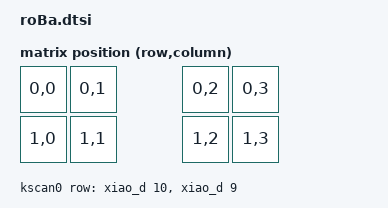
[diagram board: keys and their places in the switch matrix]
#include <dt-bindings/zmk/matrix_transform.h>
#include <physical_layouts.dtsi>

/ {
    chosen {
        zmk,physical-layout = &roba_physical_layout;
    };

    roba_physical_layout: roba_physical_layout {
        compatible = "zmk,physical-layout";
        display-name = "Default";
        transform = <&default_transform>;
        kscan = <&kscan0>;

        keys  //                     w   h    x    y     rot    rx    ry
            = <&key_physical_attrs 100 100    0    0       0     0     0>
            , <&key_physical_attrs 100 100  100    0       0     0     0>
            , <&key_physical_attrs 100 100  325    0       0     0     0>
            , <&key_physical_attrs 100 100  425    0       0     0     0>
            , <&key_physical_attrs 100 100    0  100       0     0     0>
            , <&key_physical_attrs 100 100  100  100       0     0     0>
            , <&key_physical_attrs 100 100  325  100       0     0     0>
            , <&key_physical_attrs 100 100  425  100       0     0     0>
            ;
    };

    default_transform: keymap_transform_0 {
        compatible = "zmk,matrix-transform";
        columns = <8>;
        rows = <2>;
        map = <
            RC(0,0) RC(0,1)            RC(0,2) RC(0,3)
            RC(1,0) RC(1,1)            RC(1,2) RC(1,3)
        >;
    };

    kscan0: kscan {
        compatible = "zmk,kscan-gpio-matrix";
        label = "KSCAN";
        diode-direction = "col2row";
            row-gpios
                = <&xiao_d 10 (GPIO_ACTIVE_HIGH | GPIO_PULL_DOWN)>
                , <&xiao_d 9 (GPIO_ACTIVE_HIGH | GPIO_PULL_DOWN)>
                ;
    };
    /*
    left_encoder: encoder_left {
        compatible = "alps,ec11";
        a-gpios = <&xiao_d 5 (GPIO_ACTIVE_HIGH | GPIO_PULL_UP)>;
        b-gpios = <&xiao_d 0 (GPIO_ACTIVE_HIGH | GPIO_PULL_UP)>;
        steps = <12>;
        status = "disabled";
    };

    right_encoder: encoder_right {
        status = "disabled";
    };

    sensors: sensors {
        compatible = "zmk,keymap-sensors";
        sensors = <&left_encoder &right_encoder>;
        triggers-per-rotation = <10>;
    };

    trackball_listener: trackball_listener {
        compatible = "zmk,input-listener";
        status = "disabled";
    };
    */
};
/*
&spi0 {
    status = "disabled";

    trackball: trackball@0 {
        status = "disabled";
        reg = <0>;
    };
};
*/
